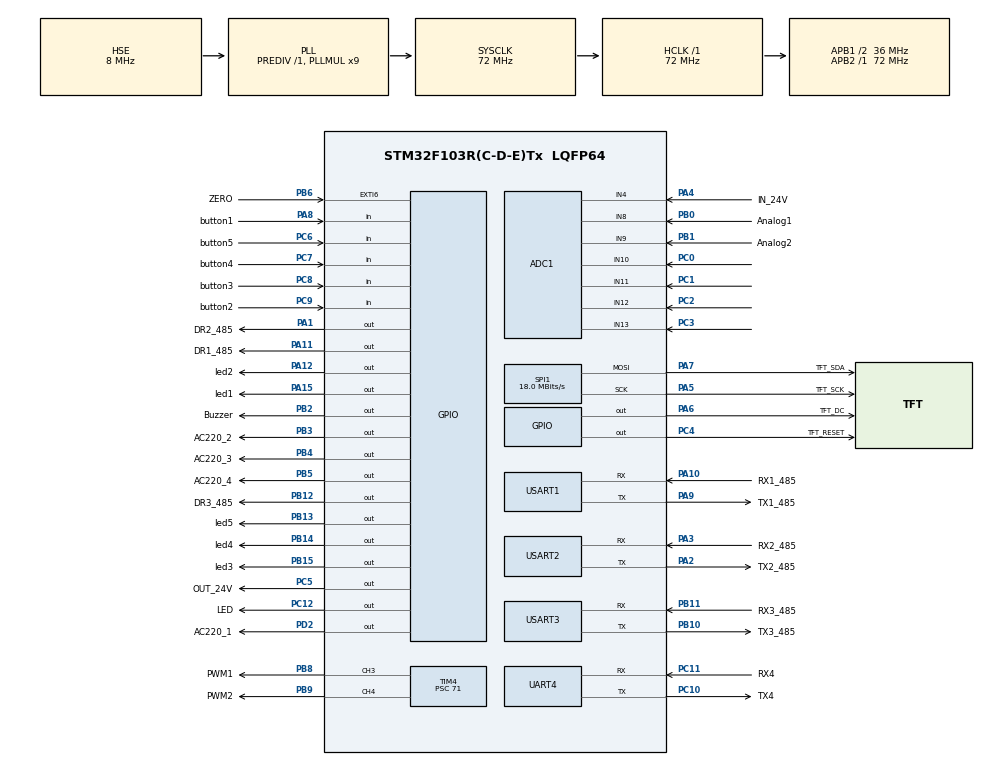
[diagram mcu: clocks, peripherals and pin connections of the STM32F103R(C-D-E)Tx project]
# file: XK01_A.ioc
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ADC1.Channel-0\#ChannelRegularConversion=ADC_CHANNEL_9
ADC1.Channel-1\#ChannelRegularConversion=ADC_CHANNEL_4
ADC1.Channel-2\#ChannelRegularConversion=ADC_CHANNEL_4
ADC1.Channel-3\#ChannelRegularConversion=ADC_CHANNEL_4
ADC1.Channel-4\#ChannelRegularConversion=ADC_CHANNEL_4
ADC1.Channel-5\#ChannelRegularConversion=ADC_CHANNEL_4
ADC1.Channel-6\#ChannelRegularConversion=ADC_CHANNEL_4
ADC1.ContinuousConvMode=DISABLE
ADC1.DiscontinuousConvMode=ENABLE
ADC1.NbrOfConversion=7
ADC1.NbrOfConversionFlag=1
ADC1.Rank-0\#ChannelRegularConversion=1
ADC1.Rank-1\#ChannelRegularConversion=2
ADC1.Rank-2\#ChannelRegularConversion=3
ADC1.Rank-3\#ChannelRegularConversion=4
ADC1.Rank-4\#ChannelRegularConversion=5
ADC1.Rank-5\#ChannelRegularConversion=6
ADC1.Rank-6\#ChannelRegularConversion=7
ADC1.SamplingTime-0\#ChannelRegularConversion=ADC_SAMPLETIME_1CYCLE_5
ADC1.SamplingTime-1\#ChannelRegularConversion=ADC_SAMPLETIME_1CYCLE_5
ADC1.SamplingTime-2\#ChannelRegularConversion=ADC_SAMPLETIME_1CYCLE_5
ADC1.SamplingTime-3\#ChannelRegularConversion=ADC_SAMPLETIME_1CYCLE_5
ADC1.SamplingTime-4\#ChannelRegularConversion=ADC_SAMPLETIME_1CYCLE_5
ADC1.SamplingTime-5\#ChannelRegularConversion=ADC_SAMPLETIME_1CYCLE_5
ADC1.SamplingTime-6\#ChannelRegularConversion=ADC_SAMPLETIME_1CYCLE_5
ADC1.master=1
Dma.Request0=SPI1_TX
Dma.SPI1_TX.0.Direction=DMA_MEMORY_TO_PERIPH
Dma.SPI1_TX.0.Instance=DMA1_Channel3
Dma.SPI1_TX.0.MemDataAlignment=DMA_MDATAALIGN_BYTE
Dma.SPI1_TX.0.MemInc=DMA_MINC_ENABLE
Dma.SPI1_TX.0.Mode=DMA_NORMAL
Dma.SPI1_TX.0.PeriphDataAlignment=DMA_PDATAALIGN_BYTE
Dma.SPI1_TX.0.PeriphInc=DMA_PINC_DISABLE
Dma.SPI1_TX.0.Priority=DMA_PRIORITY_LOW
Mcu.Family=STM32F1
Mcu.Name=STM32F103R(C-D-E)Tx
Mcu.Package=LQFP64
NVIC.ADC1_2_IRQn=true\:0\:0\:false\:false\:true\:true\:true\:true
NVIC.DMA1_Channel3_IRQn=true\:0\:0\:false\:false\:true\:false\:true\:true
NVIC.EXTI9_5_IRQn=true\:0\:0\:false\:false\:true\:true\:true\:true
NVIC.PriorityGroup=NVIC_PRIORITYGROUP_4
NVIC.SPI1_IRQn=true\:0\:0\:false\:false\:true\:true\:true\:true
NVIC.TIM5_IRQn=true\:0\:0\:false\:false\:true\:true\:true\:true
NVIC.TIM6_IRQn=true\:0\:0\:false\:false\:true\:true\:true\:true
NVIC.TIM7_IRQn=true\:0\:0\:false\:false\:true\:true\:true\:true
NVIC.UART4_IRQn=true\:0\:0\:false\:false\:true\:true\:true\:true
NVIC.USART1_IRQn=true\:0\:0\:false\:false\:true\:true\:true\:true
NVIC.USART2_IRQn=true\:0\:0\:false\:false\:true\:true\:true\:true
NVIC.USART3_IRQn=true\:0\:0\:false\:false\:true\:true\:true\:true
PA1.GPIO_Label=DR2_485
PA1.Signal=GPIO_Output
PA10.GPIO_Label=RX1_485
PA10.Mode=Asynchronous
PA10.Signal=USART1_RX
PA11.GPIO_Label=DR1_485
PA11.Signal=GPIO_Output
PA12.GPIO_Label=led2
PA12.Signal=GPIO_Output
PA13.Mode=Serial_Wire
PA13.Signal=SYS_JTMS-SWDIO
PA14.Mode=Serial_Wire
PA14.Signal=SYS_JTCK-SWCLK
PA15.GPIO_Label=led1
PA15.Signal=GPIO_Output
PA2.GPIO_Label=TX2_485
PA2.Mode=Asynchronous
PA2.Signal=USART2_TX
PA3.GPIO_Label=RX2_485
PA3.Mode=Asynchronous
PA3.Signal=USART2_RX
PA4.GPIO_Label=IN_24V
PA4.Signal=ADCx_IN4
PA5.GPIO_Label=TFT_SCK
PA5.Mode=TX_Only_Simplex_Unidirect_Master
PA5.Signal=SPI1_SCK
PA6.GPIO_Label=TFT_DC
PA6.Signal=GPIO_Output
PA7.GPIO_Label=TFT_SDA
PA7.Mode=TX_Only_Simplex_Unidirect_Master
PA7.Signal=SPI1_MOSI
PA8.GPIO_Label=button1
PA8.Signal=GPIO_Input
PA9.GPIO_Label=TX1_485
PA9.Mode=Asynchronous
PA9.Signal=USART1_TX
PB0.GPIO_Label=Analog1
PB0.Signal=ADCx_IN8
PB1.GPIO_Label=Analog2
PB1.Signal=ADCx_IN9
PB10.GPIO_Label=TX3_485
PB10.Mode=Asynchronous
PB10.Signal=USART3_TX
PB11.GPIO_Label=RX3_485
PB11.Mode=Asynchronous
PB11.Signal=USART3_RX
PB12.GPIO_Label=DR3_485
PB12.Signal=GPIO_Output
PB13.GPIO_Label=led5
PB13.Signal=GPIO_Output
PB14.GPIO_Label=led4
PB14.Signal=GPIO_Output
PB15.GPIO_Label=led3
PB15.Signal=GPIO_Output
PB2.GPIO_Label=Buzzer
PB2.Signal=GPIO_Output
PB3.GPIO_Label=AC220_2
PB3.Signal=GPIO_Output
PB4.GPIO_Label=AC220_3
PB4.Signal=GPIO_Output
PB5.GPIO_Label=AC220_4
PB5.Signal=GPIO_Output
PB6.GPIO_Label=ZERO
PB6.Signal=GPXTI6
PB8.GPIO_Label=PWM1
PB8.Signal=S_TIM4_CH3
PB9.GPIO_Label=PWM2
PB9.Signal=S_TIM4_CH4
PC0.Signal=ADCx_IN10
PC1.Signal=ADCx_IN11
PC10.GPIO_Label=TX4
PC10.Mode=Asynchronous
PC10.Signal=UART4_TX
PC11.GPIO_Label=RX4
PC11.Mode=Asynchronous
PC11.Signal=UART4_RX
PC12.GPIO_Label=LED
PC12.Signal=GPIO_Output
PC14-OSC32_IN.Mode=LSE-External-Oscillator
PC14-OSC32_IN.Signal=RCC_OSC32_IN
PC15-OSC32_OUT.Mode=LSE-External-Oscillator
PC15-OSC32_OUT.Signal=RCC_OSC32_OUT
PC2.Signal=ADCx_IN12
PC3.Signal=ADCx_IN13
PC4.GPIO_Label=TFT_RESET
PC4.Signal=GPIO_Output
PC5.GPIO_Label=OUT_24V
PC5.Signal=GPIO_Output
PC6.GPIO_Label=button5
PC6.Signal=GPIO_Input
PC7.GPIO_Label=button4
PC7.Signal=GPIO_Input
PC8.GPIO_Label=button3
PC8.Signal=GPIO_Input
PC9.GPIO_Label=button2
PC9.Signal=GPIO_Input
PD0-OSC_IN.Mode=HSE-External-Oscillator
PD0-OSC_IN.Signal=RCC_OSC_IN
PD1-OSC_OUT.Mode=HSE-External-Oscillator
PD1-OSC_OUT.Signal=RCC_OSC_OUT
PD2.GPIO_Label=AC220_1
PD2.Signal=GPIO_Output
ProjectManager.HeapSize=0x200
ProjectManager.StackSize=0x400
ProjectManager.TargetToolchain=MDK-ARM V5.32
RCC.ADCPresc=RCC_ADCPCLK2_DIV6
RCC.AHBFreq_Value=72000000
RCC.APB1CLKDivider=RCC_HCLK_DIV2
RCC.APB1Freq_Value=36000000
RCC.APB1TimFreq_Value=72000000
RCC.APB2Freq_Value=72000000
RCC.APB2TimFreq_Value=72000000
RCC.HCLKFreq_Value=72000000
RCC.PLLMUL=RCC_PLL_MUL9
RCC.PLLSourceVirtual=RCC_PLLSOURCE_HSE
RCC.SYSCLKFreq_VALUE=72000000
RCC.SYSCLKSource=RCC_SYSCLKSOURCE_PLLCLK
RCC.USBFreq_Value=72000000
SH.ADCx_IN10.0=ADC1_IN10,IN10
SH.ADCx_IN11.0=ADC1_IN11,IN11
SH.ADCx_IN12.0=ADC1_IN12,IN12
SH.ADCx_IN13.0=ADC1_IN13,IN13
SH.ADCx_IN4.0=ADC1_IN4,IN4
SH.ADCx_IN8.0=ADC1_IN8,IN8
SH.ADCx_IN9.0=ADC1_IN9,IN9
SH.S_TIM4_CH3.0=TIM4_CH3,PWM Generation3 CH3
SH.S_TIM4_CH4.0=TIM4_CH4,PWM Generation4 CH4
SPI1.BaudRatePrescaler=SPI_BAUDRATEPRESCALER_4
SPI1.CLKPolarity=SPI_POLARITY_HIGH
SPI1.CalculateBaudRate=18.0 MBits/s
SPI1.Direction=SPI_DIRECTION_2LINES
SPI1.Mode=SPI_MODE_MASTER
SPI1.VirtualType=VM_MASTER
TIM4.Channel-PWM\ Generation3\ CH3=TIM_CHANNEL_3
TIM4.Channel-PWM\ Generation4\ CH4=TIM_CHANNEL_4
TIM4.OC3Preload_PWM=DISABLE
TIM4.OC4Preload_PWM=DISABLE
TIM4.Period=1000-1
TIM4.Prescaler=71
TIM5.Period=10000-1
TIM5.Prescaler=72-1
TIM6.Period=1000-1
TIM6.Prescaler=72-1
TIM7.Period=10-1
TIM7.Prescaler=72-1
UART4.VirtualMode=Asynchronous
USART1.VirtualMode=VM_ASYNC
USART2.VirtualMode=VM_ASYNC
USART3.VirtualMode=VM_ASYNC
VP_TIM4_VS_ClockSourceINT.Mode=Internal
VP_TIM5_VS_ClockSourceINT.Mode=Internal
VP_TIM6_VS_ClockSourceINT.Mode=Enable_Timer
VP_TIM7_VS_ClockSourceINT.Mode=Enable_Timer
board=custom

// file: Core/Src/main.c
/* USER CODE BEGIN Header */
/**
  ******************************************************************************
  * @file           : main.c
  * @brief          : Main program body
  ******************************************************************************
  * @attention
  *
  * Copyright (c) 2025 STMicroelectronics.
  * All rights reserved.
  *
  * This software is licensed under terms that can be found in the LICENSE file
  * in the root directory of this software component.
  * If no LICENSE file comes with this software, it is provided AS-IS.
  *
  ******************************************************************************
  */
/* USER CODE END Header */
#include "main.h"
#include "adc.h"
#include "dma.h"
#include "spi.h"
#include "tim.h"
#include "usart.h"
#include "gpio.h"

/* USER CODE BEGIN Includes */
#include "temp.h"
#include "PWM_CRL.h"
#include "ST7789V2.h"
#include "modbus_rtu.h"
#include "POWER_CRL.h"
#include "KEY_CRL.h"
#include "GUI.h"
#include "Communication.h"

#include <stdio.h>
/* USER CODE END Includes */

void SystemClock_Config(void);

int main(void)
{

  /* MCU Configuration--------------------------------------------------------*/

  /* Reset of all peripherals, Initializes the Flash interface and the Systick. */
  HAL_Init();

  /* Configure the system clock */
  SystemClock_Config();

  /* Initialize all configured peripherals */
  MX_GPIO_Init();
  MX_DMA_Init();
  MX_ADC1_Init();
  MX_SPI1_Init();
  MX_TIM4_Init();
  MX_TIM5_Init();
  MX_TIM6_Init();
  MX_TIM7_Init();
  MX_UART4_Init();
  MX_USART1_UART_Init();
  MX_USART2_UART_Init();
  MX_USART3_UART_Init();
  /* USER CODE BEGIN 2 */
	HAL_ADCEx_Calibration_Start(&hadc1);      //ADC校准

	HAL_TIM_Base_Start_IT(&htim5);			      //TIM5使能
	HAL_TIM_Base_Start_IT(&htim6);			      //TIM6使能
	HAL_TIM_Base_Start_IT(&htim7);			      //TIM7使能

	RS485_Init();                             //485 初始化
	HAL_UART_Receive_IT(&huart1,&rs485_1.rcvbuf[rs485_1.recount],1);
  HAL_UART_Receive_IT(&huart2,&rs485_2.rcvbuf[rs485_2.recount],1);
  HAL_UART_Receive_IT(&huart3,&rs485_3.rcvbuf[rs485_3.recount],1);

  KEY_Init();
	LCD_Init();
	GUI_Init();
	GUI_Icon_Init();

  icon_refresh();
  while (!gui_info.connect_on_flag1)
  {
    get_slave1_statu_03();
		Modbus_Event_Slave1();
		delay_ms(50);
	}
  while (!gui_info.connect_on_flag2)
  {
    get_slave2_statu_03();
		Modbus_Event_Slave2();
		delay_ms(50);
	}
  // while (!gui_info.connect_on_flag3)
  // {
  //   get_slave3_statu_03();
	// 	Modbus_Event_Slave3();
	// 	delay_ms(50);
	// }
  dry_check();
  connect_dis();
  icon_refresh();
	printf("========= code start ========= \r\n");

  /* USER CODE END 2 */

  /* Infinite loop */
	while (1)
	{
    icon_beat(gui_beat.beat_select,gui_beat.beat_switch);
    key_scan();
    Modbus_Event_Slave1();
    Modbus_Event_Slave2();
    //Modbus_Event_Slave3();
    slave_statu_update();
	}
}

void SystemClock_Config(void)
{
  RCC_OscInitTypeDef RCC_OscInitStruct = {0};
  RCC_ClkInitTypeDef RCC_ClkInitStruct = {0};
  RCC_PeriphCLKInitTypeDef PeriphClkInit = {0};

  /** Initializes the RCC Oscillators according to the specified parameters
  * in the RCC_OscInitTypeDef structure.
  */
  RCC_OscInitStruct.OscillatorType = RCC_OSCILLATORTYPE_HSE;
  RCC_OscInitStruct.HSEState = RCC_HSE_ON;
  RCC_OscInitStruct.HSEPredivValue = RCC_HSE_PREDIV_DIV1;
  RCC_OscInitStruct.HSIState = RCC_HSI_ON;
  RCC_OscInitStruct.PLL.PLLState = RCC_PLL_ON;
  RCC_OscInitStruct.PLL.PLLSource = RCC_PLLSOURCE_HSE;
  RCC_OscInitStruct.PLL.PLLMUL = RCC_PLL_MUL9;
  if (HAL_RCC_OscConfig(&RCC_OscInitStruct) != HAL_OK)
  {
    Error_Handler();
  }

  /** Initializes the CPU, AHB and APB buses clocks
  */
  RCC_ClkInitStruct.ClockType = RCC_CLOCKTYPE_HCLK|RCC_CLOCKTYPE_SYSCLK
                              |RCC_CLOCKTYPE_PCLK1|RCC_CLOCKTYPE_PCLK2;
  RCC_ClkInitStruct.SYSCLKSource = RCC_SYSCLKSOURCE_PLLCLK;
  RCC_ClkInitStruct.AHBCLKDivider = RCC_SYSCLK_DIV1;
  RCC_ClkInitStruct.APB1CLKDivider = RCC_HCLK_DIV2;
  RCC_ClkInitStruct.APB2CLKDivider = RCC_HCLK_DIV1;

  if (HAL_RCC_ClockConfig(&RCC_ClkInitStruct, FLASH_LATENCY_2) != HAL_OK)
  {
    Error_Handler();
  }
  PeriphClkInit.PeriphClockSelection = RCC_PERIPHCLK_ADC;
  PeriphClkInit.AdcClockSelection = RCC_ADCPCLK2_DIV6;
  if (HAL_RCCEx_PeriphCLKConfig(&PeriphClkInit) != HAL_OK)
  {
    Error_Handler();
  }
}

/* USER CODE BEGIN 4 */
/*
  * @brief 重定向c库函数printf到USARTx
  * @retval None
*/
int fputc(int ch, FILE *f)
{
    HAL_UART_Transmit(&huart4, (uint8_t *)&ch, 1, 0xffff);
    return ch;
}

/**
  * @brief 重定向c库函数getchar,scanf到USARTx
  * @retval None
  */
int fgetc(FILE *f)
{
    uint8_t ch = 0;
    HAL_UART_Receive(&huart4, &ch, 1, 0xffff);
    return ch;
}
/* USER CODE END 4 */

void Error_Handler(void)
{
	__disable_irq();
	while (1)
	{
	}
}
